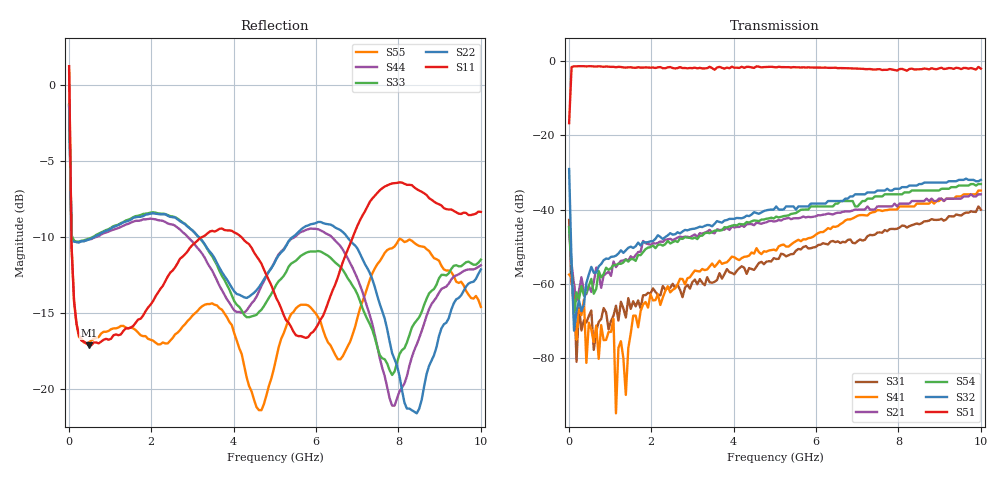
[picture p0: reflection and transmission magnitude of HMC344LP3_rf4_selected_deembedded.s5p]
!Hittite Microwave Corporation
!12 Elizabeth Drive
!Chelmsford, MA 01824
!Tel: 978-250-3343
!Fax: 978-250-3373
!Device: HMC344LP3, DC-8 GHz GaAs MMIC SP4T Non-Reflective Switch in Leadless LP3 SMT Package
!Misc: Room Temp Vctl=-5V Port1=RFC, Port2=RF1, Port3=RF2, Port4=RF3, Port5=RF4, RF4 ON.
# MHZ S MA R 50
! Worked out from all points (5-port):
!   168 points, 10 MHz to 10 GHz, reference 50 ohm
!   strongest paths, dB at 10 MHz, 2.522 GHz, 5.035 GHz, 7.547 GHz, 10 GHz:
!     S51: -16.8, -2.0, -1.8, -2.3, -2.1
!     S32: -29.1, -46.7, -39.2, -34.9, -32.0
!     S54: -44.7, -48.8, -41.9, -36.5, -33.2
!     S21: -44.9, -48.3, -43.1, -39.2, -35.9
!     S41: -57.5, -61.6, -51.0, -40.2, -34.9
!     S31: -42.8, -60.0, -53.3, -46.2, -40.0
!   lowest |S11| = -17.1 dB at 488.6 MHz (marker M1), VSWR 1.32, Z = 63.3 - j8.47 ohm
!   |S11| at or under -10 dB: 66.35 MHz to 3.245 GHz (3.179 GHz wide, 192 % of centre); 4.183 GHz to 6.894 GHz (2.712 GHz wide, 49 % of centre)
